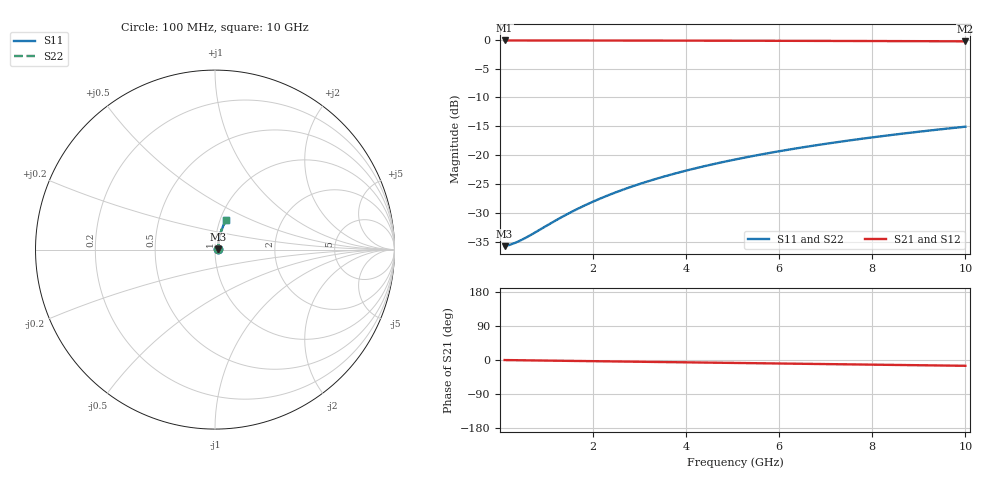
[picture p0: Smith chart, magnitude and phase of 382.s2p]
# Hz S RI R 50.00
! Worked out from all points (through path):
!   100 points, 100 MHz to 10 GHz, reference 50 ohm
!   highest |S21| = -0.14 dB at 100 MHz (marker M1); lowest = -0.3 dB at 10 GHz (marker M2)
!   group delay of S21, straight-line fit = 4.25 ps
!   lowest |S11| = -35.7 dB at 100 MHz (marker M3), VSWR 1.03, Z = 51.7 + j0.181 ohm
!   |S11| at or under -10 dB: start of sweep to end of sweep
!   |S22| runs from -35.7 to -15.1 dB; largest |S21 - S12| = 0
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1e8  0.0163 0.00176  0.9837 -0.00265  0.9837 -0.00265  0.0163 0.00176
2e8  0.0164 0.00351  0.9836 -0.0053  0.9836 -0.0053  0.0164 0.00351
3e8  0.0165 0.00526  0.9835 -0.00795  0.9835 -0.00795  0.0165 0.00526
5e8  0.0167 0.00877  0.9833 -0.0133  0.9833 -0.0133  0.0167 0.00877
7e8  0.0169 0.0123  0.9831 -0.0186  0.9831 -0.0186  0.0169 0.0123
1.3e9  0.0177 0.0228  0.9823 -0.0344  0.9823 -0.0344  0.0177 0.0228
1.6e9  0.0182 0.028  0.9817 -0.0423  0.9817 -0.0423  0.0182 0.028
1.8e9  0.0185 0.0315  0.9813 -0.0476  0.9813 -0.0476  0.0185 0.0315
2.1e9  0.0191 0.0367  0.9807 -0.0555  0.9807 -0.0555  0.0191 0.0367
2.5e9  0.0201 0.0436  0.9797 -0.0661  0.9797 -0.0661  0.0201 0.0436
2.9e9  0.0211 0.0506  0.9785 -0.0766  0.9785 -0.0766  0.0211 0.0506
3.4e9  0.0227 0.0592  0.9768 -0.0896  0.9768 -0.0896  0.0227 0.0592
3.8e9  0.0241 0.066  0.9753 -0.1001  0.9753 -0.1001  0.0241 0.066
4.2e9  0.0256 0.0728  0.9736 -0.1105  0.9736 -0.1105  0.0256 0.0728
4.6e9  0.0273 0.0796  0.9718 -0.1208  0.9718 -0.1208  0.0273 0.0796
5.1e9  0.0296 0.0879  0.9693 -0.1337  0.9693 -0.1337  0.0296 0.0879
5.9e9  0.0338 0.1012  0.9648 -0.1541  0.9648 -0.1541  0.0338 0.1012
6.7e9  0.0385 0.1142  0.9596 -0.1744  0.9596 -0.1744  0.0385 0.1142
7.5e9  0.0437 0.127  0.954 -0.1944  0.954 -0.1944  0.0437 0.127
8.4e9  0.0502 0.141  0.9469 -0.2165  0.9469 -0.2165  0.0502 0.141
9.2e9  0.0565 0.1532  0.94 -0.2359  0.94 -0.2359  0.0565 0.1532
1e10  0.0633 0.165  0.9326 -0.2549  0.9326 -0.2549  0.0633 0.165
